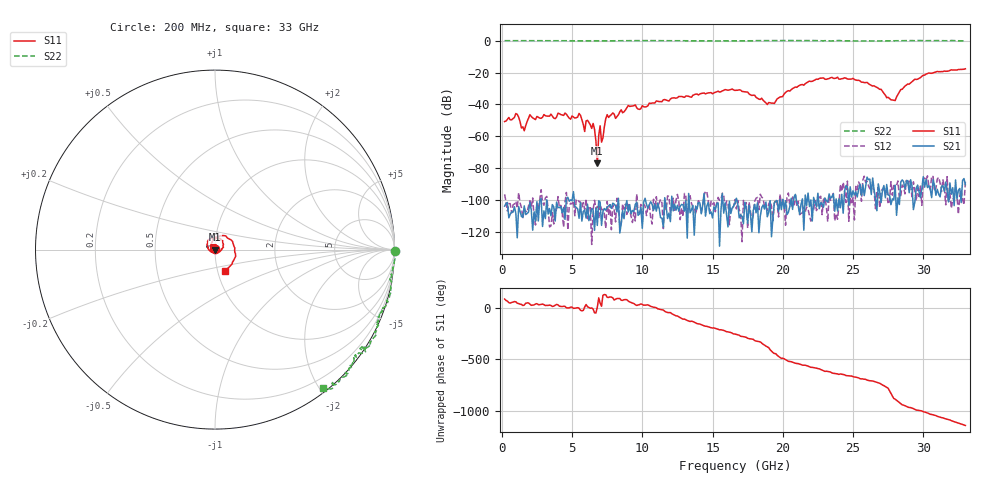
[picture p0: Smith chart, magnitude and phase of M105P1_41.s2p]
# GHZ S RI R 50
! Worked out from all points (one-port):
!   329 points, 200 MHz to 33 GHz, reference 50 ohm
!   lowest |S11| = -77.1 dB at 6.8 GHz (marker M1), VSWR 1.00, Z = 50 + j0.000811 ohm
!   |S11| at or under -10 dB: start of sweep to end of sweep
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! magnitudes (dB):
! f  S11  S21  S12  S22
! 200 MHz  -50.8  -103.9  -96.5  0.0
! 1 GHz  -45.8  -108.4  -100.8  0.0
! 1.6 GHz  -56.5  -103.7  -105.5  0.0
! 2 GHz  -46.5  -101.4  -100.5  0.0
! 5.7 GHz  -49.6  -113.3  -104.5  -0.1
! 5.9 GHz  -57.0  -106.3  -106.0  -0.1
! 6 GHz  -50.3  -111.4  -99.4  0.0
! 6.5 GHz  -52.0  -106.0  -106.2  0.0
! 6.7 GHz  -63.1  -105.0  -105.6  -0.1
! 6.8 GHz  -77.1  -116.0  -104.2  -0.1
! 6.9 GHz  -59.4  -100.5  -111.6  -0.1
! 7 GHz  -53.5  -101.3  -102.6  -0.1
! 7.1 GHz  -63.7  -116.0  -106.0  -0.1
! 7.5 GHz  -46.5  -104.6  -100.9  -0.1
! 11.2 GHz  -38.3  -105.2  -101.9  0.0
! 16.6 GHz  -31.2  -101.9  -99.8  -0.1
! 18.9 GHz  -40.1  -110.6  -106.7  0.1
! 22.1 GHz  -25.5  -113.2  -106.2  0.1
! 25 GHz  -23.7  -94.3  -98.5  -0.2
! 27.6 GHz  -36.3  -97.1  -100.6  0.0
! 30.4 GHz  -20.3  -91.0  -91.4  0.1
! 33 GHz  -17.7  -90.4  -88.4  -0.2
